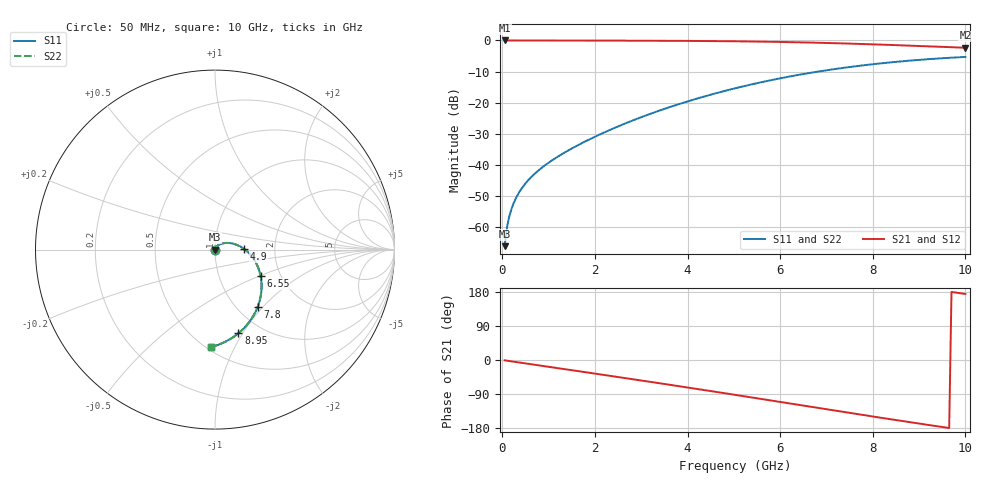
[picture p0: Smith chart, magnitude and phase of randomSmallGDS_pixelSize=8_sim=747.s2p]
! freq	dB(S11)	phase(S11)	dB(S12)	phase(S12)
!  dB(S21)	phase(S21)	dB(S22)	phase(S22)
!S-par simulation data
#  GHz  S  DB  R 50
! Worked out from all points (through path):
!   200 points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, 50 MHz to 10 GHz, reference 50 ohm
!   highest |S21| = 0.00 dB at 50 MHz (marker M1); lowest = -2.3 dB at 10 GHz (marker M2)
!   group delay of S21, straight-line fit = 52.1 ps
!   lowest |S11| = -66.1 dB at 50 MHz (marker M3), VSWR 1.00, Z = 50 + j0.0492 ohm
!   |S11| at or under -10 dB: start of sweep to 6.821 GHz
!   |S22| runs from -66.1 to -5.3 dB; largest |S21 - S12| = 0
!   S11 on the Smith chart (normalised r, x): 50 MHz: 1.00, +0.00; 4.9 GHz: 1.38, +0.01; 6.55 GHz: 1.58, -0.50; 7.8 GHz: 1.23, -0.94; 8.95 GHz: 0.79, -0.96; 10 GHz: 0.52, -0.81
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0.05  -66.12 84.3  -0.00 -0.9  -0.00 -0.9  -66.12 84.3
0.1  -60.12 85.8  -0.00 -1.8  -0.00 -1.8  -60.12 85.8
0.15  -56.59 85.7  -0.00 -2.7  -0.00 -2.7  -56.59 85.7
0.2  -54.08 85.2  -0.00 -3.6  -0.00 -3.6  -54.08 85.1
0.3  -50.52 83.8  -0.00 -5.4  -0.00 -5.4  -50.52 83.7
0.45  -46.91 81.4  -0.01 -8.1  -0.01 -8.1  -46.91 81.3
0.65  -43.53 78.1  -0.01 -11.7  -0.01 -11.7  -43.53 78.0
0.95  -39.82 73.2  -0.02 -17.1  -0.02 -17.1  -39.82 73.1
1.3  -36.43 67.4  -0.03 -23.3  -0.03 -23.3  -36.43 67.3
1.75  -32.77 59.7  -0.04 -31.4  -0.04 -31.4  -32.77 59.6
2.55  -27.32 45.5  -0.06 -45.8  -0.06 -45.8  -27.32 45.4
3.4  -22.51 29.8  -0.10 -61.4  -0.10 -61.4  -22.51 29.7
4.15  -18.92 15.8  -0.15 -75.3  -0.15 -75.3  -18.92 15.7
4.9  -15.85 1.7  -0.25 -89.5  -0.25 -89.5  -15.85 1.6
5.05  -15.29 -1.2  -0.27 -92.4  -0.27 -92.4  -15.30 -1.3
5.8  -12.77 -15.5  -0.42 -106.8  -0.42 -106.8  -12.77 -15.6
6.55  -10.67 -29.9  -0.64 -121.3  -0.64 -121.3  -10.67 -30.0
6.7  -10.29 -32.7  -0.69 -124.2  -0.69 -124.2  -10.29 -32.8
7.8  -7.98 -53.5  -1.15 -145.3  -1.15 -145.3  -7.98 -53.6
8.35  -7.09 -63.6  -1.42 -155.7  -1.42 -155.7  -7.09 -63.7
8.95  -6.30 -74.4  -1.75 -166.8  -1.75 -166.8  -6.30 -74.5
10  -5.30 -92.5  -2.34 174.3  -2.34 174.3  -5.30 -92.6
